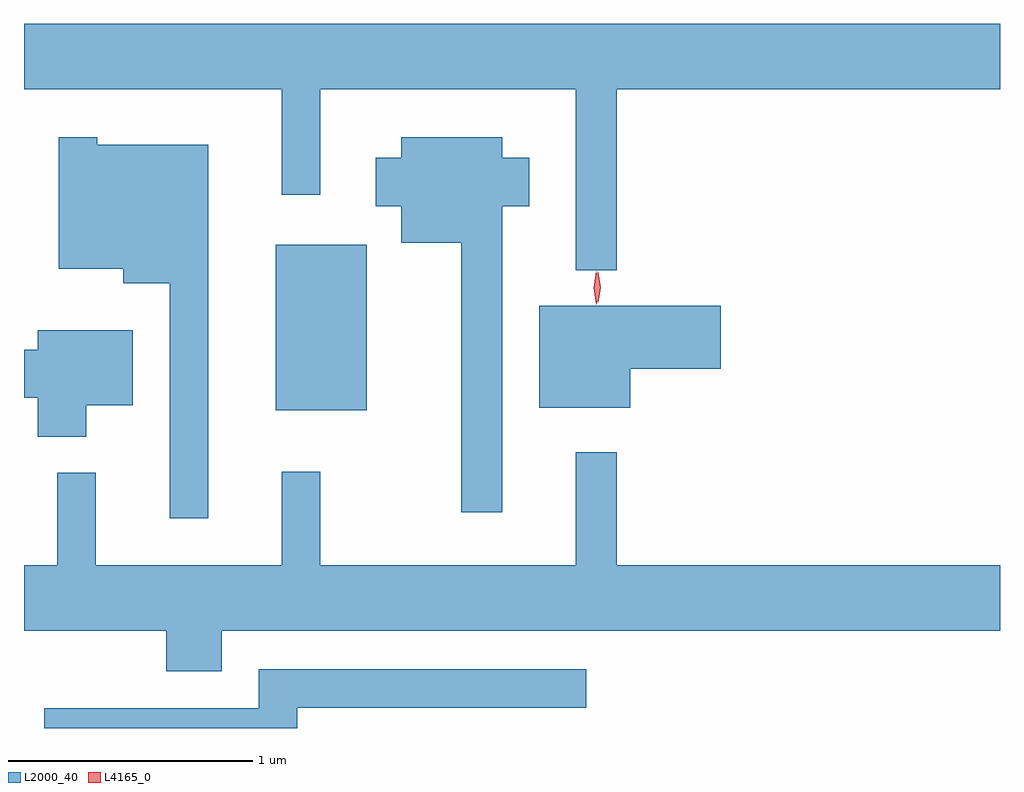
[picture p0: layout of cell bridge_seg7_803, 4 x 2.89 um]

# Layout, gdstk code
import gdstk
lib = gdstk.Library(unit=1e-6, precision=1e-09)
def R(c, l, rs):  # rectangles x0, y0, x1, y1
    for r in rs: c.add(gdstk.rectangle(r[:2], r[2:], *l))
def P(c, l, *ps):  # polygons
    for p in ps: c.add(gdstk.Polygon(p, *l))
L2000_40 = (2000, 40)
L4165_0 = (4165, 0)

bridge_seg7_803 = lib.new_cell('bridge_seg7_803')
R(bridge_seg7_803, L2000_40, [(231.431,1775.161,231.804,1775.839)])
P(bridge_seg7_803, L2000_40, [(232.829,1776.476),(234.399,1776.476),(234.399,1776.744),(230.399,1776.744),(230.399,1776.476),(231.456,1776.476),(231.456,1776.043),(231.614,1776.043),(231.614,1776.476),(232.661,1776.476),(232.661,1775.733),(232.829,1775.733)],
  [(231.154,1776.249),(230.699,1776.249),(230.699,1776.279),(230.541,1776.279),(230.541,1775.741),(230.806,1775.741),(230.806,1775.681),(230.996,1775.681),(230.996,1774.718),(231.154,1774.718)],
  [(232.359,1775.996),(232.469,1775.996),(232.469,1776.194),(232.359,1776.194),(232.359,1776.279),(231.946,1776.279),(231.946,1776.194),(231.841,1776.194),(231.841,1775.996),(231.946,1775.996),(231.946,1775.846),(232.191,1775.846),(232.191,1774.743),(232.359,1774.743)],
  [(232.884,1775.331),(233.254,1775.331),(233.254,1775.589),(232.511,1775.589),(232.511,1775.171),(232.884,1775.171)],
  [(230.654,1775.181),(230.844,1775.181),(230.844,1775.489),(230.456,1775.489),(230.456,1775.409),(230.399,1775.409),(230.399,1775.211),(230.456,1775.211),(230.456,1775.051),(230.654,1775.051)],
  [(231.209,1774.256),(234.399,1774.256),(234.399,1774.524),(232.829,1774.524),(232.829,1774.988),(232.661,1774.988),(232.661,1774.524),(231.614,1774.524),(231.614,1774.908),(231.456,1774.908),(231.456,1774.524),(230.694,1774.524),(230.694,1774.903),(230.536,1774.903),(230.536,1774.524),(230.399,1774.524),(230.399,1774.256),(230.981,1774.256),(230.981,1774.091),(231.209,1774.091)],
  [(231.519,1773.941),(232.703,1773.941),(232.703,1774.099),(231.361,1774.099),(231.361,1773.939),(230.483,1773.939),(230.483,1773.857),(231.519,1773.857)])
P(bridge_seg7_803, L4165_0, [(232.745,1775.594),(232.735,1775.662),(232.744,1775.73),(232.745,1775.73),(232.745,1775.73),(232.755,1775.662),(232.746,1775.594),(232.746,1775.594)],
  [(232.752,1775.6),(232.752,1775.601),(232.742,1775.664),(232.751,1775.726),(232.751,1775.727),(232.752,1775.726),(232.762,1775.664),(232.753,1775.601)])

lib.write_gds('bridge_seg7_803.gds')
